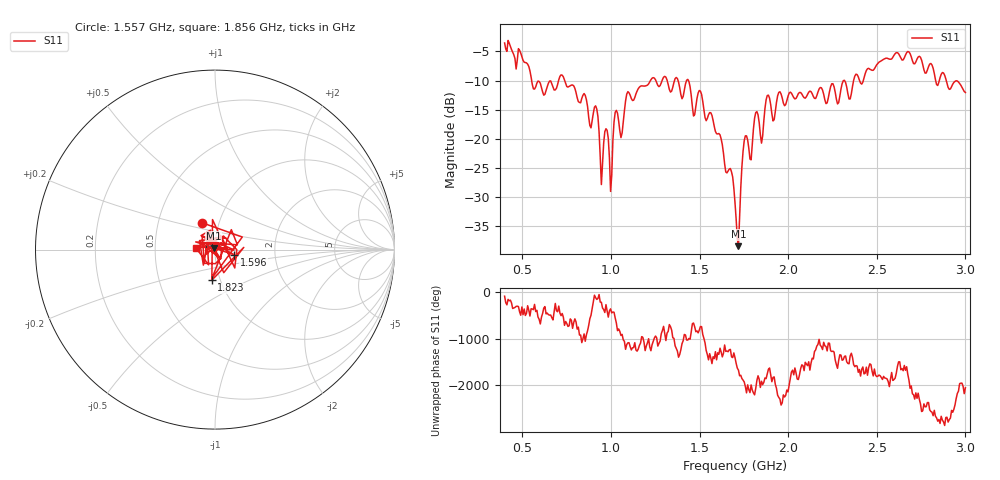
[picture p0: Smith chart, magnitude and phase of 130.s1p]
!Created with skrf (http://scikit-rf.org).
# Hz S RI R 50.0
!freq ReS11 ImS11
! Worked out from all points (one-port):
!   401 points, 400 MHz to 3 GHz, reference 50 ohm
!   lowest |S11| = -38.4 dB at 1.72 GHz (marker M1), VSWR 1.02, Z = 49.3 + j0.966 ohm
!   |S11| at or under -10 dB: 552.6 MHz to 704.6 MHz (152 MHz wide, 24.2 % of centre); 738.7 MHz to 1.223 GHz (484.5 MHz wide, 49.4 % of centre); 1.437 GHz to 2.314 GHz (877 MHz wide, 46.8 % of centre) (the widest 3 of 10)
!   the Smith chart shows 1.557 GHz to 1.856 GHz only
!   S11 on the Smith chart (normalised r, x): 1.557 GHz: 0.83, +0.26; 1.596 GHz: 1.24, -0.07; 1.823 GHz: 0.91, -0.32; 1.856 GHz: 0.81, +0.01
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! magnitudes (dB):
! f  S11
! 400 MHz  -3.6
! 621 MHz  -12.5
! 725 MHz  -9.1
! 855 MHz  -12.5
! 887.5 MHz  -18.1
! 913.5 MHz  -14.3
! 946 MHz  -27.8
! 972 MHz  -18.3
! 998 MHz  -29.0
! 1.024 GHz  -15.4
! 1.05 GHz  -18.6
! 1.095 GHz  -11.9
! 1.375 GHz  -9.7
! 1.557 GHz  -15.5
! 1.596 GHz  -19.1
! 1.681 GHz  -25.7
! 1.7 GHz  -31.0
! 1.72 GHz  -38.4
! 1.752 GHz  -20.3
! 1.791 GHz  -23.6
! 1.823 GHz  -15.3
! 1.856 GHz  -19.5
! 1.882 GHz  -12.6
! 1.915 GHz  -16.9
! 2.025 GHz  -12.6
! 2.35 GHz  -13.2
! 2.675 GHz  -5.0
! 3 GHz  -12.0
